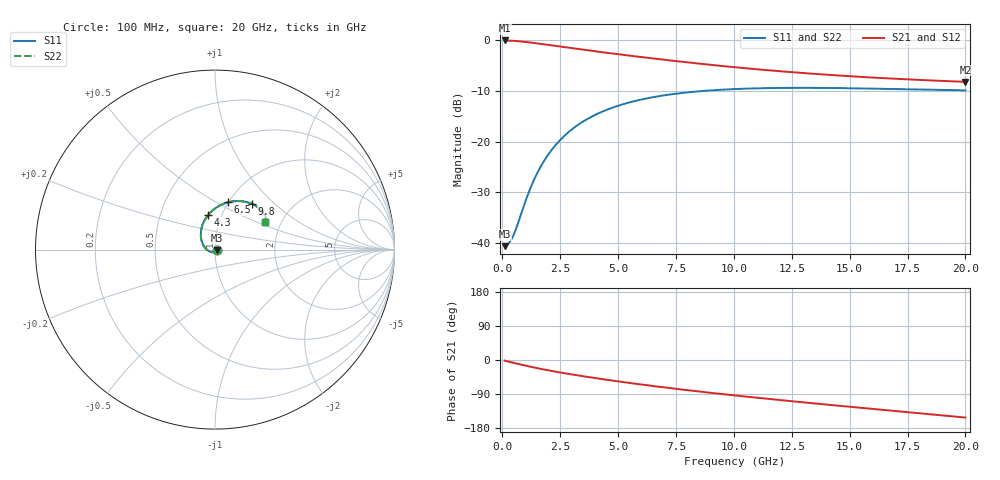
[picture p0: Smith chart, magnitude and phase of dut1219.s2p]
! Touchstone file exported from HFSS 2024.1.0
!  File:  C:/UserFiles/LocalFiles/RDL_TSV_Batchsim/temp_RDL_TSV_1219_1780261397.aedt
!  Generated:  05:20:28 AM Jun  1, 2026
!  Design:  RDL_TSV
!  Project:  temp_RDL_TSV_1219_1780261397
!  Setup:  Setup1
!  Solution:  Sweep
! Variables:
!  dtsv = 11.03um
!  hbump = 3um
!  htsv = 95.6um
!  ldown = 306.08um
!  lrdl = 196.2um
!  p = 40
!  p1 = 56.87um
!  rhole = 10um
!  subl = 1703.04um
!  t = 450um
!  tdown = 4.97um
!  trdl = 4.21um
!  viad = 10um
!  wdown = 15.78um
!  wrdl = 15.24um
!  xbump = 18um
# GHz S MA R 50.000000
! Terminal data exported
! Port[1] = TM1_1_T1
! Port[2] = TM1_4_T1
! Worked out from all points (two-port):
!   200 points, 100 MHz to 20 GHz, reference 50 ohm
!   highest |S21| = -0.09 dB at 100 MHz (marker M1); lowest = -8.2 dB at 20 GHz (marker M2)
!   |S21| within 3 dB of the highest: start of sweep to 5.522 GHz
!   lowest |S11| = -40.6 dB at 100 MHz (marker M3), VSWR 1.02, Z = 50.9 - j0.268 ohm
!   |S11| at or under -10 dB: start of sweep to 8.739 GHz
!   |S22| runs from -40.6 to -9.4 dB; largest |S21 - S12| = 1.5e-14
!   S11 on the Smith chart (normalised r, x): 100 MHz: 1.02, -0.01; 4.3 GHz: 0.86, +0.35; 6.5 GHz: 1.00, +0.57; 9.8 GHz: 1.28, +0.73; 20 GHz: 1.65, +0.57
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0.1  0.009368 -16.3  0.9902 -1.6  0.9902 -1.6  0.009368 -16.3
! Gamma 0 0 0 0
! Port Impedance 50 0 50 0
0.3  0.01015 -51.0  0.9869 -4.7  0.9869 -4.7  0.01015 -51.0
0.5  0.01223 -86.2  0.981 -7.7  0.981 -7.7  0.01223 -86.2
1  0.0259 -149.2  0.9578 -14.9  0.9578 -14.9  0.0259 -149.2
1.2  0.03419 -164.8  0.9461 -17.6  0.9461 -17.6  0.03419 -164.9
1.5  0.04855 177.1  0.9271 -21.5  0.9271 -21.5  0.04855 177.1
1.8  0.06444 163.1  0.9073 -25.1  0.9073 -25.1  0.06444 163.1
2.2  0.08682 148.2  0.8809 -29.7  0.8809 -29.7  0.08681 148.2
2.6  0.1095 136.1  0.8553 -34.0  0.8553 -34.0  0.1095 136.1
3  0.1318 125.9  0.8309 -38.1  0.8309 -38.1  0.1318 125.9
3.5  0.1583 115.2  0.8022 -42.9  0.8022 -42.9  0.1583 115.2
4.3  0.1967 101.2  0.7595 -50.3  0.7595 -50.3  0.1966 101.2
5.3  0.2367 87.4  0.7111 -58.9  0.7111 -58.9  0.2367 87.4
6.5  0.2737 74.5  0.6591 -68.6  0.6591 -68.6  0.2737 74.5
6.8  0.2812 71.7  0.6471 -70.9  0.6471 -70.9  0.2812 71.7
8.3  0.3101 60.0  0.5924 -81.8  0.5924 -81.8  0.3101 60.0
9.8  0.3273 51.1  0.5465 -91.9  0.5465 -91.9  0.3273 51.0
10.1  0.3296 49.5  0.5382 -93.9  0.5382 -93.9  0.3297 49.5
11.7  0.3372 42.5  0.4993 -103.9  0.4993 -103.9  0.3372 42.5
13.4  0.3383 37.0  0.4659 -114.1  0.4659 -114.1  0.3384 37.0
16.7  0.33 30.7  0.4188 -133.1  0.4188 -133.1  0.3301 30.6
20  0.3199 29.0  0.3877 -151.9  0.3877 -151.9  0.32 29.0
